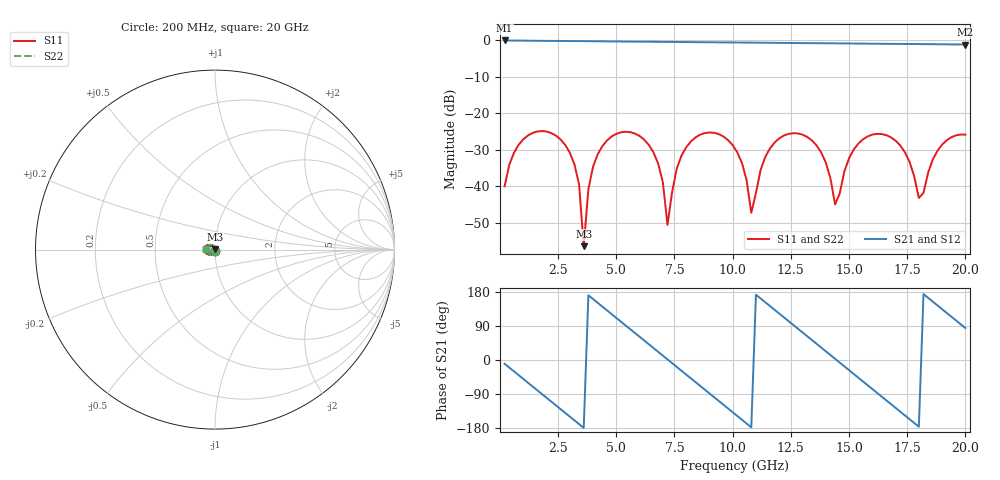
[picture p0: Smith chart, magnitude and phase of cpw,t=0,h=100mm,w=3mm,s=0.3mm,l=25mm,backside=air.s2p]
# HZ S RI R 50
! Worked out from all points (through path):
!   100 points, 200 MHz to 20 GHz, reference 50 ohm
!   highest |S21| = -0.01 dB at 200 MHz (marker M1); lowest = -1.1 dB at 20 GHz (marker M2)
!   group delay of S21, straight-line fit = 138 ps
!   lowest |S11| = -56.4 dB at 3.6 GHz (marker M3), VSWR 1.00, Z = 49.9 + j0.0755 ohm
!   |S11| at or under -10 dB: start of sweep to end of sweep
!   |S22| runs from -56.4 to -24.8 dB; largest |S21 - S12| = 0
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2e8  -0.00181 -0.00988  0.9836 -0.173  0.9836 -0.173  -0.00181 -0.00988
1e9  -0.0338 -0.0283  0.6403 -0.7585  0.6403 -0.7585  -0.0338 -0.0283
2.4e9  -0.0436 0.0241  -0.4834 -0.8565  -0.4834 -0.8565  -0.0436 0.0241
3.2e9  -0.00815 0.0184  -0.9161 -0.3466  -0.9161 -0.3466  -0.00815 0.0184
3.6e9  -0.00132 0.000757  -0.9771 -0.0134  -0.9771 -0.0134  -0.00132 0.000757
4e9  -0.00739 -0.0171  -0.9205 0.3198  -0.9205 0.3198  -0.00739 -0.0171
4.6e9  -0.0329 -0.0271  -0.6358 0.7326  -0.6358 0.7326  -0.0329 -0.0271
5.6e9  -0.0548 0.00814  0.1469 0.952  0.1469 0.952  -0.0548 0.00814
6.8e9  -0.00958 0.0182  0.8905 0.3509  0.8905 0.3509  -0.00958 0.0182
7.2e9  -0.0026 0.00145  0.9546 0.0261  0.9546 0.0261  -0.0026 0.00145
7.6e9  -0.00793 -0.0158  0.9038 -0.3002  0.9038 -0.3002  -0.00793 -0.0158
8.2e9  -0.032 -0.026  0.6311 -0.7074  0.6311 -0.7074  -0.032 -0.026
9.2e9  -0.0538 0.00711  -0.1309 -0.9322  -0.1309 -0.9322  -0.0538 0.00711
1.02e10  -0.0181 0.023  -0.7919 -0.4997  -0.7919 -0.4997  -0.0181 0.023
1.08e10  -0.00384 0.00207  -0.9323 -0.0382  -0.9323 -0.0382  -0.00384 0.00207
1.18e10  -0.0312 -0.0249  -0.6261 0.6829  -0.6261 0.6829  -0.0312 -0.0249
1.34e10  -0.0357 0.0235  0.5525 0.7317  0.5525 0.7317  -0.0357 0.0235
1.44e10  -0.00504 0.00263  0.9105 0.0497  0.9105 0.0497  -0.00504 0.00263
1.54e10  -0.0305 -0.0238  0.6209 -0.6589  0.6209 -0.6589  -0.0305 -0.0238
1.68e10  -0.0432 0.0186  -0.3978 -0.8039  -0.3978 -0.8039  -0.0432 0.0186
1.8e10  -0.0062 0.00313  -0.889 -0.0606  -0.889 -0.0606  -0.0062 0.00313
2e10  -0.0511 0.00442  0.0867 0.8743  0.0867 0.8743  -0.0511 0.00442
